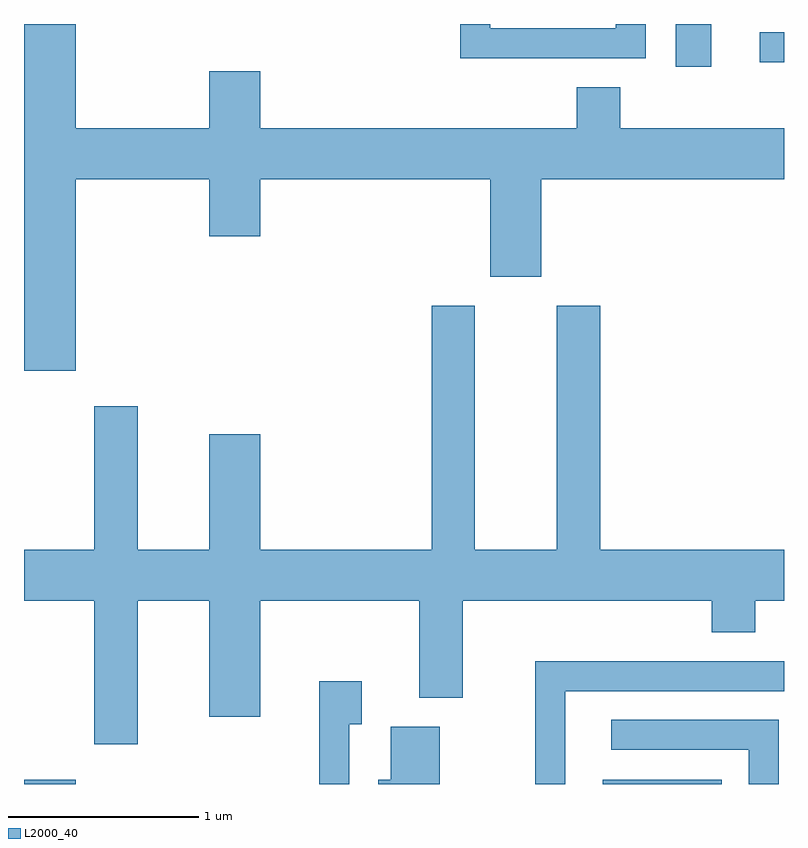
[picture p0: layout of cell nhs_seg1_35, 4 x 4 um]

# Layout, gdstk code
import gdstk
lib = gdstk.Library(unit=1e-6, precision=1e-09)
def R(c, l, rs):  # rectangles x0, y0, x1, y1
    for r in rs: c.add(gdstk.rectangle(r[:2], r[2:], *l))
def P(c, l, *ps):  # polygons
    for p in ps: c.add(gdstk.Polygon(p, *l))
L2000_40 = (2000, 40)

nhs_seg1_35 = lib.new_cell('nhs_seg1_35')
R(nhs_seg1_35, L2000_40, [(185.611,909.712,185.884,909.734), (188.656,909.712,189.283,909.734), (189.041,913.486,189.229,913.712), (189.483,913.511,189.611,913.669)])
P(nhs_seg1_35, L2000_40, [(185.884,912.896),(186.586,912.896),(186.586,912.596),(186.854,912.596),(186.854,912.896),(188.066,912.896),(188.066,912.381),(188.334,912.381),(188.334,912.896),(189.611,912.896),(189.611,913.164),(188.749,913.164),(188.749,913.379),(188.521,913.379),(188.521,913.164),(186.854,913.164),(186.854,913.464),(186.586,913.464),(186.586,913.164),(185.884,913.164),(185.884,913.712),(185.611,913.712),(185.611,911.886),(185.884,911.886)],
  [(188.884,913.712),(188.726,913.712),(188.726,913.689),(188.064,913.689),(188.064,913.712),(187.906,913.712),(187.906,913.531),(188.884,913.531)],
  [(186.209,910.676),(186.586,910.676),(186.586,910.066),(186.854,910.066),(186.854,910.676),(187.691,910.676),(187.691,910.166),(187.919,910.166),(187.919,910.676),(189.231,910.676),(189.231,910.511),(189.459,910.511),(189.459,910.676),(189.611,910.676),(189.611,910.944),(188.644,910.944),(188.644,912.229),(188.416,912.229),(188.416,910.944),(187.984,910.944),(187.984,912.229),(187.756,912.229),(187.756,910.944),(186.854,910.944),(186.854,911.554),(186.586,911.554),(186.586,910.944),(186.209,910.944),(186.209,911.699),(185.981,911.699),(185.981,910.944),(185.611,910.944),(185.611,910.676),(185.981,910.676),(185.981,909.921),(186.209,909.921)],
  [(188.459,910.201),(189.611,910.201),(189.611,910.359),(188.301,910.359),(188.301,909.712),(188.459,909.712)],
  [(187.324,910.026),(187.389,910.026),(187.389,910.254),(187.166,910.254),(187.166,909.712),(187.324,909.712)],
  [(189.584,910.049),(188.703,910.049),(188.703,909.891),(189.426,909.891),(189.426,909.712),(189.584,909.712)],
  [(187.799,910.014),(187.541,910.014),(187.541,909.734),(187.476,909.734),(187.476,909.712),(187.799,909.712)])

lib.write_gds('nhs_seg1_35.gds')
